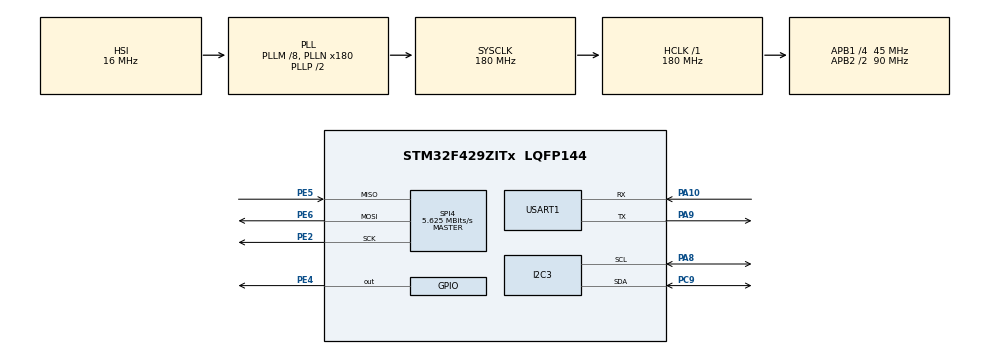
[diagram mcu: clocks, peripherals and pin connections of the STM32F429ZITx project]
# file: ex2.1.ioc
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I2C3.I2C_Mode=I2C_Fast
Mcu.Family=STM32F4
Mcu.Name=STM32F429ZITx
Mcu.Package=LQFP144
NVIC.PriorityGroup=NVIC_PRIORITYGROUP_4
PA10.Mode=Asynchronous
PA10.Signal=USART1_RX
PA8.Mode=I2C
PA8.Signal=I2C3_SCL
PA9.Mode=Asynchronous
PA9.Signal=USART1_TX
PC14/OSC32_IN.Mode=LSE-External-Oscillator
PC14/OSC32_IN.Signal=RCC_OSC32_IN
PC15/OSC32_OUT.Mode=LSE-External-Oscillator
PC15/OSC32_OUT.Signal=RCC_OSC32_OUT
PC9.Mode=I2C
PC9.Signal=I2C3_SDA
PE2.Mode=Full_Duplex_Master
PE2.Signal=SPI4_SCK
PE4.Signal=GPIO_Output
PE5.Mode=Full_Duplex_Master
PE5.Signal=SPI4_MISO
PE6.Mode=Full_Duplex_Master
PE6.Signal=SPI4_MOSI
PH0/OSC_IN.Mode=HSE-External-Oscillator
PH0/OSC_IN.Signal=RCC_OSC_IN
PH1/OSC_OUT.Mode=HSE-External-Oscillator
PH1/OSC_OUT.Signal=RCC_OSC_OUT
ProjectManager.HeapSize=0x200
ProjectManager.StackSize=0x400
ProjectManager.TargetToolchain=STM32CubeIDE
RCC.48MHZClocksFreq_Value=90000000
RCC.AHBFreq_Value=180000000
RCC.APB1CLKDivider=RCC_HCLK_DIV4
RCC.APB1Freq_Value=45000000
RCC.APB1TimFreq_Value=90000000
RCC.APB2CLKDivider=RCC_HCLK_DIV2
RCC.APB2Freq_Value=90000000
RCC.APB2TimFreq_Value=180000000
RCC.CortexFreq_Value=180000000
RCC.HCLKFreq_Value=180000000
RCC.HSE_VALUE=25000000
RCC.HSI_VALUE=16000000
RCC.PLLM=8
RCC.PLLN=180
RCC.SYSCLKFreq_VALUE=180000000
RCC.SYSCLKSource=RCC_SYSCLKSOURCE_PLLCLK
RCC.VCOOutputFreq_Value=360000000
SPI4.BaudRatePrescaler=SPI_BAUDRATEPRESCALER_16
SPI4.CalculateBaudRate=5.625 MBits/s
SPI4.Direction=SPI_DIRECTION_2LINES
SPI4.Mode=SPI_MODE_MASTER
SPI4.VirtualType=VM_MASTER
USART1.VirtualMode=VM_ASYNC
VP_TIM6_VS_ClockSourceINT.Mode=Enable_Timer
board=custom

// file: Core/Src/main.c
/* USER CODE BEGIN Header */
/**
  ******************************************************************************
  * @file           : main.c
  * @brief          : Main program body
  ******************************************************************************
  * @attention
  *
  * Copyright (c) 2026 STMicroelectronics.
  * All rights reserved.
  *
  * This software is licensed under terms that can be found in the LICENSE file
  * in the root directory of this software component.
  * If no LICENSE file comes with this software, it is provided AS-IS.
  *
  ******************************************************************************
  */
/* USER CODE END Header */
#include "main.h"

/* USER CODE BEGIN Includes */
#include <stdio.h>
#include <string.h>
/* USER CODE END Includes */

/* USER CODE BEGIN PTD */
typedef struct
{
  uint8_t sec;
  uint8_t min;
  uint8_t hour;
  uint8_t weekday;
  uint8_t day;
  uint8_t month;
  uint8_t year;
} Time;
/* USER CODE END PTD */

/* USER CODE BEGIN PD */
#define DS1307_ADDR              (0x68 << 1)
#define DS1307_REG_TIME          0x00

/*
 * Để 1 khi muốn set thời gian ban đầu cho DS1307.
 * Sau khi chạy thành công một lần, nên đổi thành 0 để DS1307 tự chạy tiếp.
 */
#define SET_DS1307_TIME_ON_START 1
/* USER CODE END PD */

I2C_HandleTypeDef hi2c3;

SPI_HandleTypeDef hspi4;

TIM_HandleTypeDef htim6;

UART_HandleTypeDef huart1;

void SystemClock_Config(void);
static void MX_GPIO_Init(void);
static void MX_I2C3_Init(void);
static void MX_SPI4_Init(void);
static void MX_TIM6_Init(void);
static void MX_USART1_UART_Init(void);
/* USER CODE BEGIN PFP */
uint8_t DecToBCD(uint8_t val);
uint8_t BCDToDec(uint8_t val);
HAL_StatusTypeDef SetTime(Time *time);
HAL_StatusTypeDef GetTime(Time *time);
/* USER CODE END PFP */

/* USER CODE BEGIN 0 */
uint8_t DecToBCD(uint8_t val)
{
  return (uint8_t)(((val / 10) << 4) | (val % 10));
}

uint8_t BCDToDec(uint8_t val)
{
  return (uint8_t)(((val >> 4) * 10) + (val & 0x0F));
}

HAL_StatusTypeDef SetTime(Time *time)
{
  uint8_t data[7];

  data[0] = DecToBCD(time->sec);      // Seconds, bit CH = 0 để RTC chạy
  data[1] = DecToBCD(time->min);
  data[2] = DecToBCD(time->hour);     // Chế độ 24 giờ
  data[3] = DecToBCD(time->weekday);
  data[4] = DecToBCD(time->day);
  data[5] = DecToBCD(time->month);
  data[6] = DecToBCD(time->year);

  return HAL_I2C_Mem_Write(&hi2c3,
                           DS1307_ADDR,
                           DS1307_REG_TIME,
                           I2C_MEMADD_SIZE_8BIT,
                           data,
                           7,
                           1000);
}

HAL_StatusTypeDef GetTime(Time *time)
{
  uint8_t data[7];
  HAL_StatusTypeDef status;

  status = HAL_I2C_Mem_Read(&hi2c3,
                            DS1307_ADDR,
                            DS1307_REG_TIME,
                            I2C_MEMADD_SIZE_8BIT,
                            data,
                            7,
                            1000);

  if (status != HAL_OK)
  {
    return status;
  }

  time->sec     = BCDToDec(data[0] & 0x7F);
  time->min     = BCDToDec(data[1]);
  time->hour    = BCDToDec(data[2] & 0x3F);
  time->weekday = BCDToDec(data[3]);
  time->day     = BCDToDec(data[4]);
  time->month   = BCDToDec(data[5]);
  time->year    = BCDToDec(data[6]);

  return HAL_OK;
}
/* USER CODE END 0 */

int main(void)
{

  /* MCU Configuration--------------------------------------------------------*/

  /* Reset of all peripherals, Initializes the Flash interface and the Systick. */
  HAL_Init();

  /* Configure the system clock */
  SystemClock_Config();

  /* Initialize all configured peripherals */
  MX_GPIO_Init();
  MX_I2C3_Init();
  MX_SPI4_Init();
  MX_TIM6_Init();
  MX_USART1_UART_Init();
  /* USER CODE BEGIN 2 */
  Time setTime;
  Time getTime;
  char buff[80];

#if SET_DS1307_TIME_ON_START
  setTime.sec = 10;
  setTime.min = 52;
  setTime.hour = 8;
  setTime.weekday = 2;
  setTime.day = 4;
  setTime.month = 5;
  setTime.year = 26;

  if (SetTime(&setTime) == HAL_OK)
  {
    sprintf(buff, "Set DS1307 time OK\r\n");
  }
  else
  {
    sprintf(buff, "Set DS1307 time ERROR\r\n");
  }
  HAL_UART_Transmit(&huart1, (uint8_t *)buff, strlen(buff), 1000);
#endif
  /* USER CODE END 2 */

  /* Infinite loop */
  while (1)
  {

    /* USER CODE BEGIN 3 */
    if (GetTime(&getTime) == HAL_OK)
    {
      sprintf(buff, "%02d:%02d:%02d - W%d - %02d/%02d/20%02d\r\n",
              getTime.hour,
              getTime.min,
              getTime.sec,
              getTime.weekday,
              getTime.day,
              getTime.month,
              getTime.year);
    }
    else
    {
      sprintf(buff, "Read DS1307 ERROR\r\n");
    }

    HAL_UART_Transmit(&huart1, (uint8_t *)buff, strlen(buff), 1000);
    HAL_Delay(1000);
  }
  /* USER CODE END 3 */
}

void SystemClock_Config(void)
{
  RCC_OscInitTypeDef RCC_OscInitStruct = {0};
  RCC_ClkInitTypeDef RCC_ClkInitStruct = {0};

  /** Configure the main internal regulator output voltage
  */
  __HAL_RCC_PWR_CLK_ENABLE();
  __HAL_PWR_VOLTAGESCALING_CONFIG(PWR_REGULATOR_VOLTAGE_SCALE1);

  /** Initializes the RCC Oscillators according to the specified parameters
  * in the RCC_OscInitTypeDef structure.
  */
  RCC_OscInitStruct.OscillatorType = RCC_OSCILLATORTYPE_HSI;
  RCC_OscInitStruct.HSIState = RCC_HSI_ON;
  RCC_OscInitStruct.HSICalibrationValue = RCC_HSICALIBRATION_DEFAULT;
  RCC_OscInitStruct.PLL.PLLState = RCC_PLL_ON;
  RCC_OscInitStruct.PLL.PLLSource = RCC_PLLSOURCE_HSI;
  RCC_OscInitStruct.PLL.PLLM = 8;
  RCC_OscInitStruct.PLL.PLLN = 180;
  RCC_OscInitStruct.PLL.PLLP = RCC_PLLP_DIV2;
  RCC_OscInitStruct.PLL.PLLQ = 4;
  if (HAL_RCC_OscConfig(&RCC_OscInitStruct) != HAL_OK)
  {
    Error_Handler();
  }

  /** Activate the Over-Drive mode
  */
  if (HAL_PWREx_EnableOverDrive() != HAL_OK)
  {
    Error_Handler();
  }

  /** Initializes the CPU, AHB and APB buses clocks
  */
  RCC_ClkInitStruct.ClockType = RCC_CLOCKTYPE_HCLK|RCC_CLOCKTYPE_SYSCLK
                              |RCC_CLOCKTYPE_PCLK1|RCC_CLOCKTYPE_PCLK2;
  RCC_ClkInitStruct.SYSCLKSource = RCC_SYSCLKSOURCE_PLLCLK;
  RCC_ClkInitStruct.AHBCLKDivider = RCC_SYSCLK_DIV1;
  RCC_ClkInitStruct.APB1CLKDivider = RCC_HCLK_DIV4;
  RCC_ClkInitStruct.APB2CLKDivider = RCC_HCLK_DIV2;

  if (HAL_RCC_ClockConfig(&RCC_ClkInitStruct, FLASH_LATENCY_5) != HAL_OK)
  {
    Error_Handler();
  }
}

static void MX_I2C3_Init(void)
{

  hi2c3.Instance = I2C3;
  hi2c3.Init.ClockSpeed = 400000;
  hi2c3.Init.DutyCycle = I2C_DUTYCYCLE_2;
  hi2c3.Init.OwnAddress1 = 0;
  hi2c3.Init.AddressingMode = I2C_ADDRESSINGMODE_7BIT;
  hi2c3.Init.DualAddressMode = I2C_DUALADDRESS_DISABLE;
  hi2c3.Init.OwnAddress2 = 0;
  hi2c3.Init.GeneralCallMode = I2C_GENERALCALL_DISABLE;
  hi2c3.Init.NoStretchMode = I2C_NOSTRETCH_DISABLE;
  if (HAL_I2C_Init(&hi2c3) != HAL_OK)
  {
    Error_Handler();
  }

  /** Configure Analogue filter
  */
  if (HAL_I2CEx_ConfigAnalogFilter(&hi2c3, I2C_ANALOGFILTER_ENABLE) != HAL_OK)
  {
    Error_Handler();
  }

  /** Configure Digital filter
  */
  if (HAL_I2CEx_ConfigDigitalFilter(&hi2c3, 0) != HAL_OK)
  {
    Error_Handler();
  }

}

static void MX_SPI4_Init(void)
{

  /* SPI4 parameter configuration*/
  hspi4.Instance = SPI4;
  hspi4.Init.Mode = SPI_MODE_MASTER;
  hspi4.Init.Direction = SPI_DIRECTION_2LINES;
  hspi4.Init.DataSize = SPI_DATASIZE_8BIT;
  hspi4.Init.CLKPolarity = SPI_POLARITY_LOW;
  hspi4.Init.CLKPhase = SPI_PHASE_1EDGE;
  hspi4.Init.NSS = SPI_NSS_SOFT;
  hspi4.Init.BaudRatePrescaler = SPI_BAUDRATEPRESCALER_16;
  hspi4.Init.FirstBit = SPI_FIRSTBIT_MSB;
  hspi4.Init.TIMode = SPI_TIMODE_DISABLE;
  hspi4.Init.CRCCalculation = SPI_CRCCALCULATION_DISABLE;
  hspi4.Init.CRCPolynomial = 10;
  if (HAL_SPI_Init(&hspi4) != HAL_OK)
  {
    Error_Handler();
  }

}

static void MX_TIM6_Init(void)
{

  TIM_MasterConfigTypeDef sMasterConfig = {0};

  htim6.Instance = TIM6;
  htim6.Init.Prescaler = 0;
  htim6.Init.CounterMode = TIM_COUNTERMODE_UP;
  htim6.Init.Period = 65535;
  htim6.Init.AutoReloadPreload = TIM_AUTORELOAD_PRELOAD_DISABLE;
  if (HAL_TIM_Base_Init(&htim6) != HAL_OK)
  {
    Error_Handler();
  }
  sMasterConfig.MasterOutputTrigger = TIM_TRGO_RESET;
  sMasterConfig.MasterSlaveMode = TIM_MASTERSLAVEMODE_DISABLE;
  if (HAL_TIMEx_MasterConfigSynchronization(&htim6, &sMasterConfig) != HAL_OK)
  {
    Error_Handler();
  }

}

static void MX_USART1_UART_Init(void)
{

  huart1.Instance = USART1;
  huart1.Init.BaudRate = 115200;
  huart1.Init.WordLength = UART_WORDLENGTH_8B;
  huart1.Init.StopBits = UART_STOPBITS_1;
  huart1.Init.Parity = UART_PARITY_NONE;
  huart1.Init.Mode = UART_MODE_TX_RX;
  huart1.Init.HwFlowCtl = UART_HWCONTROL_NONE;
  huart1.Init.OverSampling = UART_OVERSAMPLING_16;
  if (HAL_UART_Init(&huart1) != HAL_OK)
  {
    Error_Handler();
  }

}

static void MX_GPIO_Init(void)
{
  GPIO_InitTypeDef GPIO_InitStruct = {0};

  /* GPIO Ports Clock Enable */
  __HAL_RCC_GPIOE_CLK_ENABLE();
  __HAL_RCC_GPIOC_CLK_ENABLE();
  __HAL_RCC_GPIOH_CLK_ENABLE();
  __HAL_RCC_GPIOA_CLK_ENABLE();

  /*Configure GPIO pin Output Level */
  HAL_GPIO_WritePin(GPIOE, GPIO_PIN_4, GPIO_PIN_RESET);

  /*Configure GPIO pin : PE4 */
  GPIO_InitStruct.Pin = GPIO_PIN_4;
  GPIO_InitStruct.Mode = GPIO_MODE_OUTPUT_PP;
  GPIO_InitStruct.Pull = GPIO_NOPULL;
  GPIO_InitStruct.Speed = GPIO_SPEED_FREQ_LOW;
  HAL_GPIO_Init(GPIOE, &GPIO_InitStruct);

}

void Error_Handler(void)
{
  __disable_irq();
  while (1)
  {
  }
}
